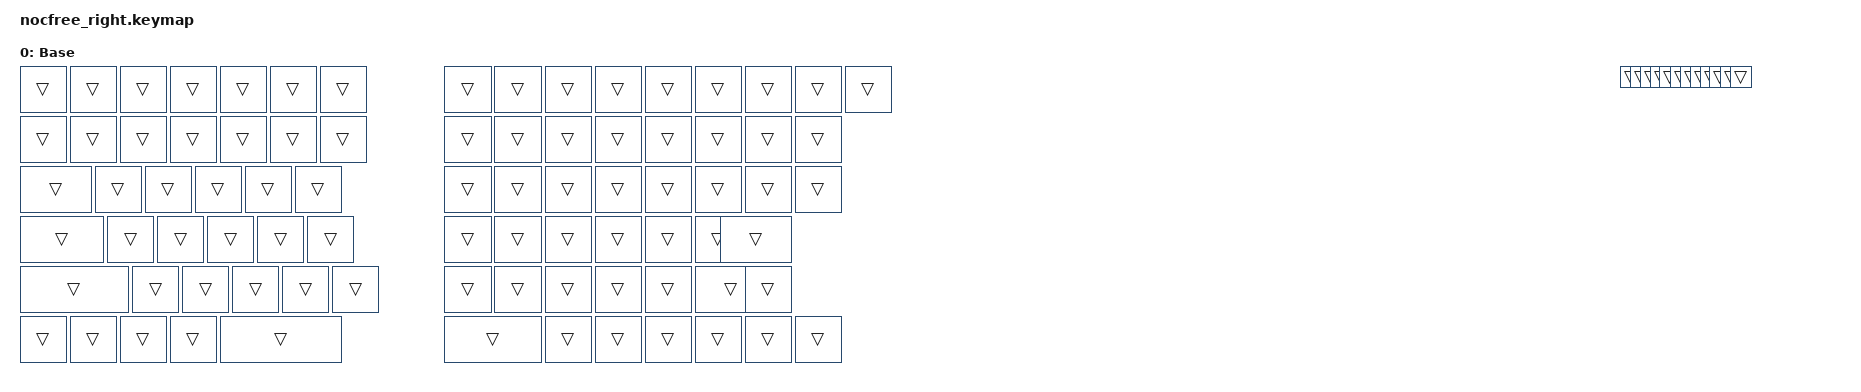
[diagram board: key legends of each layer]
/*
 * PERIPHERAL keymap placeholder -- THIS FILE DOES ALMOST NOTHING.
 *
 * ZMK compiles keymap.c, combo.c, behavior_momentary_layer.c and the whole &kp
 * behaviour family ONLY for non-split or central builds
 * (zmk/app/CMakeLists.txt: `if ((NOT CONFIG_ZMK_SPLIT) OR
 * CONFIG_ZMK_SPLIT_ROLE_CENTRAL)`). A split PERIPHERAL runs none of it. It scans
 * its matrix, turns (row,col) into a position via its transform, and sends that
 * position to the central. Nothing in this file is evaluated on the half.
 *
 * So do NOT put a recovery layer here and believe it works -- an earlier version
 * of this file did exactly that, and holding those keys would have done nothing.
 *
 * HOW A HALF ACTUALLY GETS RESET:
 *   behavior_reset.c IS compiled on peripherals, and it has locality
 *   BEHAVIOR_LOCALITY_EVENT_SOURCE. So the CENTRAL invokes &bootloader with the
 *   half as the event source, and the central relays it to that half. In
 *   practice: use the DONGLE's keymap recovery layer and press a key belonging
 *   to the half you want to reset. That requires the split link to be up.
 *   If it is not, the 1200-baud USB touch in recovery.c is the only way in.
 *
 * ZMK still requires a keymap node to exist, and it must match the 96-position
 * transform, hence this file.
 */

/* Keep the &bl (bcklight) behavior NODE even though this peripheral placeholder
 * never references it. The node is /omit-if-no-ref/ in ZMK's backlight.dtsi, so
 * without this define devicetree deletes it, behavior_backlight.c compiles to
 * nothing, and the "bcklight" device never registers -- which makes the
 * central's split_backlight_sync invoke silently fail (peripheral lookup returns
 * NULL, no error because the keeper has no LOG). Proven root cause 2026-08-10
 * (Fable): nocfree_right.uf2 contained the string "bcklight" zero times. */
#define ZMK_BEHAVIORS_KEEP_BL
#include <behaviors.dtsi>
#include <dt-bindings/zmk/keys.h>

/ {
	keymap {
		compatible = "zmk,keymap";

		base_layer: layer_0 {
			display-name = "Base";
			bindings = <
				&trans  &trans  &trans  &trans  &trans  &trans  &trans  &trans
				&trans  &trans  &trans  &trans  &trans  &trans  &trans  &trans
				&trans  &trans  &trans  &trans  &trans  &trans  &trans  &trans
				&trans  &trans  &trans  &trans  &trans  &trans  &trans  &trans
				&trans  &trans  &trans  &trans  &trans  &trans  &trans  &trans
				&trans  &trans  &trans  &trans  &trans  &trans  &trans  &trans
				&trans  &trans  &trans  &trans  &trans  &trans  &trans  &trans
				&trans  &trans  &trans  &trans  &trans  &trans  &trans  &trans
				&trans  &trans  &trans  &trans  &trans  &trans  &trans  &trans
				&trans  &trans  &trans  &trans  &trans  &trans  &trans  &trans
				&trans  &trans  &trans  &trans  &trans  &trans  &trans  &trans
				&trans  &trans  &trans  &trans  &trans  &trans  &trans  &trans
			>;
		};
	};
};
